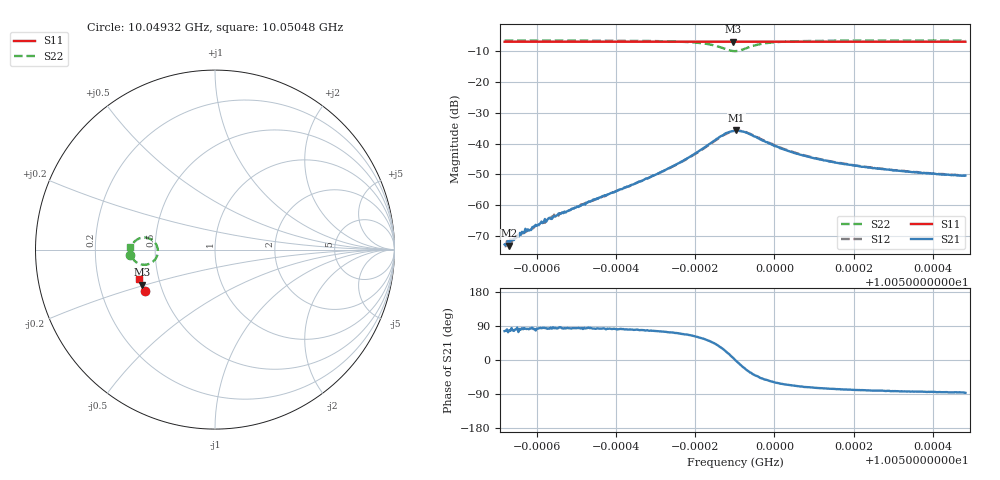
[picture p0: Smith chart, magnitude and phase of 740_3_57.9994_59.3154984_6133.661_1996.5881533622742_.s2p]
#  HZ  S  RI  R  50.00
! Rohde & Schwarz Vector Network Analyzer
! Rohde-Schwarz,ZNB20-2Port,1311601062101988,3.16
! Created: UTC 3/21/2024, 1:23:28 AM
! freq[Hz]  re:S11  im:S11  re:S21  im:S21  re:S12  im:S12  re:S22  im:S22
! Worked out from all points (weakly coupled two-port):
!   401 points, 10.04932 GHz to 10.05048 GHz, reference 50 ohm
!   highest |S21| = -35.74 dB at 10.0499 GHz (marker M1); lowest = -73.3 dB at 10.04933 GHz (marker M2)
!   lowest |S11| = -6.9 dB at 10.04989 GHz (marker M3), VSWR 2.64, Z = 19.7 - j9.71 ohm
!   |S11| at or under -10 dB: nowhere
!   |S22| runs from -9.9 to -6.5 dB; largest |S21 - S12| = 0.0018
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1.0049318e10  -0.3913 -0.2304  5.41e-05 0.000222  2.54e-05 0.000213  -0.4739 -0.0281
1.004933e10  -0.3917 -0.2297  4.39e-05 0.000212  1.95e-05 0.000235  -0.4739 -0.0271
1.0049336e10  -0.3918 -0.2294  2.65e-05 0.000271  4.06e-05 0.000239  -0.4738 -0.0264
1.004935e10  -0.3924 -0.2284  2.46e-05 0.000305  3.44e-05 0.000305  -0.4737 -0.0251
1.0049368e10  -0.3929 -0.2275  3.45e-05 0.000349  5.23e-05 0.000358  -0.4737 -0.0234
1.0049426e10  -0.3948 -0.224  7.75e-05 0.000568  2.1e-05 0.000573  -0.4736 -0.0176
1.0049443e10  -0.3954 -0.2229  7.42e-05 0.000658  4.6e-05 0.000695  -0.4733 -0.0157
1.0049513e10  -0.3975 -0.2188  9.83e-05 0.000999  3.49e-05 0.00103  -0.4725 -0.00797
1.0049708e10  -0.4031 -0.2071  0.000801 0.00322  0.000577 0.00325  -0.4626 0.0251
1.0049775e10  -0.4049 -0.203  0.00211 0.0051  0.00177 0.00513  -0.4475 0.0455
1.0049822e10  -0.4059 -0.1999  0.00479 0.00705  0.00422 0.00718  -0.4196 0.063
1.0049863e10  -0.4065 -0.1974  0.0107 0.0073  0.00968 0.00788  -0.3652 0.0617
1.0049895e10  -0.4066 -0.1959  0.0158 0.00186  0.0153 0.00333  -0.3197 0.00762
1.00499e10  -0.4068 -0.1958  0.0161 8.66e-05  0.0159 0.00179  -0.3181 -0.00772
1.0049903e10  -0.4068 -0.1956  0.0163 -0.000635  0.0161 0.00114  -0.3186 -0.0156
1.0049932e10  -0.4078 -0.1947  0.013 -0.00706  0.0137 -0.00573  -0.3551 -0.0738
1.0049979e10  -0.4097 -0.1921  0.00648 -0.00831  0.00713 -0.00805  -0.4223 -0.0792
1.0050025e10  -0.4112 -0.1892  0.00345 -0.00718  0.00404 -0.00701  -0.4504 -0.06
1.0050095e10  -0.4132 -0.1849  0.00177 -0.00561  0.00213 -0.00558  -0.4655 -0.0375
1.0050191e10  -0.4157 -0.179  0.000917 -0.0044  0.00117 -0.00438  -0.4719 -0.0179
1.005029e10  -0.4182 -0.1728  0.000556 -0.0037  0.000745 -0.00368  -0.4739 -0.00399
1.0050482e10  -0.4225 -0.1611  0.000176 -0.00301  0.000393 -0.00296  -0.4747 0.0161
